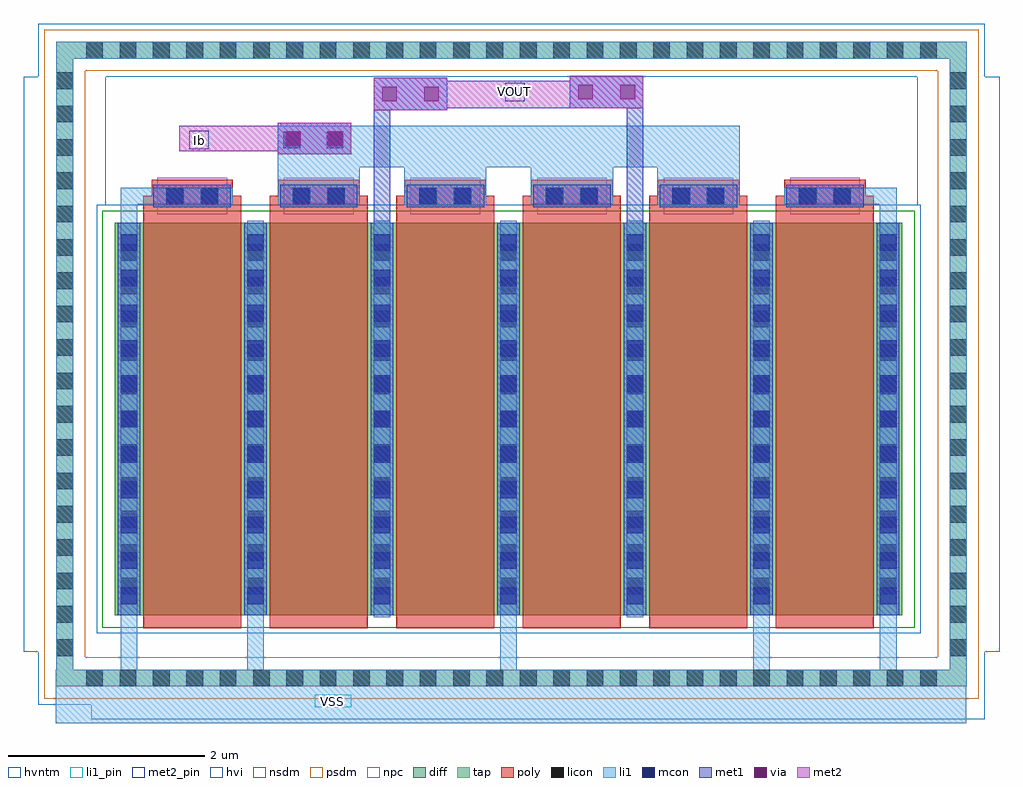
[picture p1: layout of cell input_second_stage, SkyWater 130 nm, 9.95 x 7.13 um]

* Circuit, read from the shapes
.subckt input_second_stage Ib VOUT VSS
XM1 VSS VSS VSS VSS sky130_fd_pr__nfet_g5v0d10v5 w=4 l=1 m=2
XM2 VOUT Ib VSS VSS sky130_fd_pr__nfet_g5v0d10v5 w=4 l=1 m=4
.ends

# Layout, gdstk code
import gdstk
lib = gdstk.Library(unit=1e-6, precision=1e-09)
def R(c, l, rs):  # rectangles x0, y0, x1, y1
    for r in rs: c.add(gdstk.rectangle(r[:2], r[2:], *l))
def A(c, l, x, y, w, h, nx, ny, dx, dy):  # array of equal rectangles
    R(c, l, [(x+i*dx, y+j*dy, x+i*dx+w, y+j*dy+h) for i in range(nx) for j in range(ny)])
diff = (65, 20)
tap = (65, 44)
poly = (66, 20)
licon = (66, 44)
li1_pin = (67, 16)
li1 = (67, 20)
mcon = (67, 44)
met1 = (68, 20)
via = (68, 44)
met2_pin = (69, 16)
met2 = (69, 20)
hvi = (75, 20)
nsdm = (93, 44)
psdm = (94, 20)
npc = (95, 20)
hvntm = (125, 20)

sky130_fd_pr__nfet_g5v0d = lib.new_cell('sky130_fd_pr__nfet_g5v0d10v5_JZTFN8')
R(sky130_fd_pr__nfet_g5v0d, diff, [(-0.79,-2.155,0.79,1.845)])
R(sky130_fd_pr__nfet_g5v0d, poly, [(-0.5,-2.285,0.5,2.12), (-0.415,2.12,0.415,2.285)])
A(sky130_fd_pr__nfet_g5v0d, licon, -0.73, -1.94, 0.17, 0.17, 1, 11, 0, 0.34)
A(sky130_fd_pr__nfet_g5v0d, licon, 0.56, -1.94, 0.17, 0.17, 1, 11, 0, 0.34)
R(sky130_fd_pr__nfet_g5v0d, licon, [(-0.255,2.035,-0.085,2.205), (0.085,2.035,0.255,2.205)])
R(sky130_fd_pr__nfet_g5v0d, li1, [(-0.73,-2.175,-0.56,1.865), (0.56,-2.175,0.73,1.865), (-0.415,2.035,0.415,2.205)])
A(sky130_fd_pr__nfet_g5v0d, mcon, -0.73, -2.04, 0.17, 0.17, 1, 11, 0, 0.36)
A(sky130_fd_pr__nfet_g5v0d, mcon, 0.56, -2.04, 0.17, 0.17, 1, 11, 0, 0.36)
R(sky130_fd_pr__nfet_g5v0d, mcon, [(-0.265,2.035,-0.095,2.205), (0.095,2.035,0.265,2.205)])
R(sky130_fd_pr__nfet_g5v0d, met1, [(-0.76,-2.155,-0.53,1.845), (0.53,-2.155,0.76,1.845), (-0.395,2.005,0.395,2.235)])
R(sky130_fd_pr__nfet_g5v0d, hvi, [(-0.975,-2.34,0.975,2.03)])
R(sky130_fd_pr__nfet_g5v0d, nsdm, [(-0.915,-2.28,0.915,1.97)])
R(sky130_fd_pr__nfet_g5v0d, npc, [(-0.355,1.935,0.355,2.305)])
R(sky130_fd_pr__nfet_g5v0d, hvntm, [(-0.975,-2.34,0.975,2.03)])

c_sky130_fd_pr__nfet_g5v0d = lib.new_cell('sky130_fd_pr__nfet_g5v0d10v5_8F5HCW')
R(c_sky130_fd_pr__nfet_g5v0d, diff, [(-1.435,-2.155,1.435,1.845)])
R(c_sky130_fd_pr__nfet_g5v0d, poly, [(-1.145,-2.285,-0.145,2.12), (0.145,-2.285,1.145,2.12), (-1.06,2.12,-0.23,2.285), (0.23,2.12,1.06,2.285)])
A(c_sky130_fd_pr__nfet_g5v0d, licon, -1.375, -1.94, 0.17, 0.17, 3, 11, 1.29, 0.34)
R(c_sky130_fd_pr__nfet_g5v0d, licon, [(-0.9,2.035,-0.73,2.205), (-0.56,2.035,-0.39,2.205), (0.39,2.035,0.56,2.205), (0.73,2.035,0.9,2.205)])
A(c_sky130_fd_pr__nfet_g5v0d, li1, -1.375, -2.175, 0.17, 4.04, 3, 1, 1.29, 0)
R(c_sky130_fd_pr__nfet_g5v0d, li1, [(-1.06,2.035,-0.23,2.205), (0.23,2.035,1.06,2.205)])
A(c_sky130_fd_pr__nfet_g5v0d, mcon, -1.375, -2.04, 0.17, 0.17, 3, 11, 1.29, 0.36)
R(c_sky130_fd_pr__nfet_g5v0d, mcon, [(-0.91,2.035,-0.74,2.205), (-0.55,2.035,-0.38,2.205), (0.38,2.035,0.55,2.205), (0.74,2.035,0.91,2.205)])
A(c_sky130_fd_pr__nfet_g5v0d, met1, -1.405, -2.155, 0.23, 4, 3, 1, 1.29, 0)
R(c_sky130_fd_pr__nfet_g5v0d, met1, [(-1.04,2.005,-0.25,2.235), (0.25,2.005,1.04,2.235)])
R(c_sky130_fd_pr__nfet_g5v0d, hvi, [(-1.62,-2.34,1.62,2.03)])
R(c_sky130_fd_pr__nfet_g5v0d, nsdm, [(-1.56,-2.28,1.56,1.97)])
R(c_sky130_fd_pr__nfet_g5v0d, npc, [(-1,1.935,-0.29,2.305), (0.29,1.935,1,2.305)])
R(c_sky130_fd_pr__nfet_g5v0d, hvntm, [(-1.62,-2.34,1.62,2.03)])

input_second_stage = lib.new_cell('input_second_stage')
R(input_second_stage, tap, [(-0.595,-0.595,8.685,-0.425), (-0.595,-0.425,-0.425,5.805), (8.515,-0.425,8.685,5.805), (-0.595,5.805,8.685,5.975)])
A(input_second_stage, licon, -0.29, -0.595, 0.17, 0.17, 26, 2, 0.34, 6.4)
A(input_second_stage, licon, -0.595, -0.285, 0.17, 0.17, 1, 18, 0, 0.34)
A(input_second_stage, licon, 8.515, -0.285, 0.17, 0.17, 1, 18, 0, 0.34)
R(input_second_stage, li1_pin, [(2.04,-0.81,2.41,-0.68)])
R(input_second_stage, li1, [(-0.6,-0.97,8.68,-0.595), (-0.6,-0.595,8.685,-0.43), (-0.595,-0.43,8.685,-0.425), (-0.595,-0.425,-0.425,5.805), (0.06,-0.425,0.23,0.33), (1.35,-0.425,1.52,0.32), (3.93,-0.425,4.1,0.42), (6.51,-0.425,6.68,0.34), (7.8,-0.425,7.97,0.37), (8.515,-0.425,8.685,5.805), (0.06,3.51,0.23,4.32), (7.8,3.88,7.97,4.32), (2.95,4.31,3.79,4.7), (5.53,4.31,6.37,4.7), (0.06,4.32,0.49,4.49), (1.66,4.32,2.5,4.7), (4.24,4.32,5.08,4.7), (7.57,4.32,7.97,4.49), (1.66,4.7,6.37,5.12), (-0.595,5.805,8.685,5.975)])
R(input_second_stage, mcon, [(1.72,4.89,1.89,5.06), (2.16,4.89,2.33,5.06)])
R(input_second_stage, met1, [(2.64,3.89,2.81,5.28), (5.22,3.95,5.39,5.3), (1.66,4.83,2.41,5.15), (2.64,5.28,3.39,5.61), (4.64,5.3,5.39,5.63)])
R(input_second_stage, via, [(1.745,4.915,1.895,5.065), (2.175,4.915,2.325,5.065), (2.725,5.37,2.875,5.52), (3.155,5.37,3.305,5.52), (4.725,5.39,4.875,5.54), (5.155,5.39,5.305,5.54)])
R(input_second_stage, met2_pin, [(0.76,4.88,0.96,5.07), (3.98,5.37,4.18,5.56)])
R(input_second_stage, met2, [(1.66,4.83,2.41,4.86), (0.66,4.86,2.41,5.12), (1.66,5.12,2.41,5.15), (2.64,5.28,3.39,5.3), (2.64,5.3,5.39,5.58), (2.64,5.58,3.39,5.61), (4.64,5.58,5.39,5.63)])
R(input_second_stage, hvi, [(-0.24,-0.93,8.87,-0.78), (-0.78,-0.78,8.87,-0.24), (-0.93,-0.24,9.02,-0.055), (-0.93,-0.055,-0.09,5.62), (8.18,-0.055,9.02,5.62), (-0.78,5.62,8.87,6.16)])
R(input_second_stage, psdm, [(-0.72,-0.72,8.81,-0.3), (-0.72,-0.3,-0.3,5.68), (8.39,-0.3,8.81,5.68), (-0.72,5.68,8.81,6.1)])
input_second_stage.add(gdstk.Reference(sky130_fd_pr__nfet_g5v0d, (7.24,2.285)))
input_second_stage.add(gdstk.Reference(sky130_fd_pr__nfet_g5v0d, (0.79,2.285)))
input_second_stage.add(gdstk.Reference(c_sky130_fd_pr__nfet_g5v0d, (2.725,2.285)))
input_second_stage.add(gdstk.Reference(c_sky130_fd_pr__nfet_g5v0d, (5.305,2.285)))
input_second_stage.add(gdstk.Label('VSS', (2.225,-0.745), layer=67, texttype=5))
input_second_stage.add(gdstk.Label('Ib', (0.86,4.975), layer=69, texttype=5))
input_second_stage.add(gdstk.Label('VOUT', (4.08,5.465), layer=69, texttype=5))

lib.write_gds('input_second_stage.gds')
